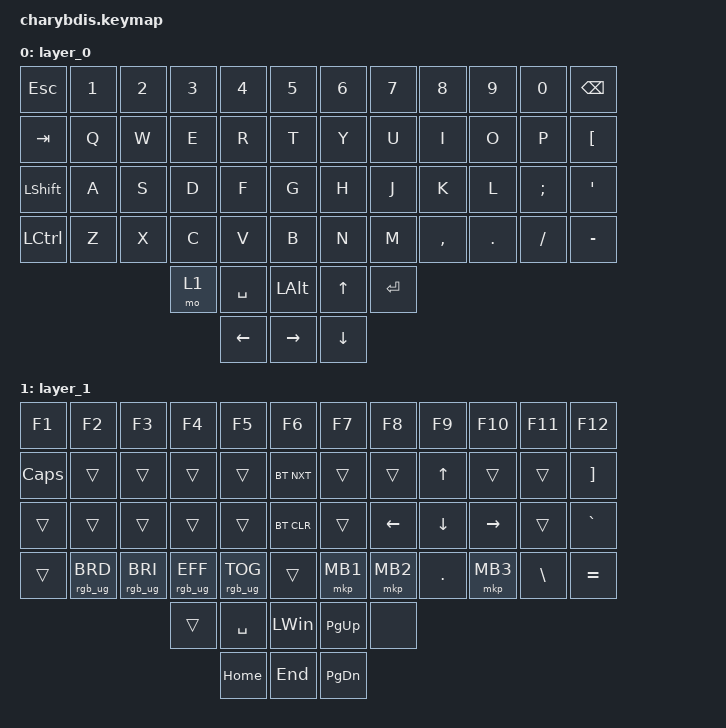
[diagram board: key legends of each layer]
#include <dt-bindings/zmk/mouse.h>
#include <behaviors.dtsi>
#include <dt-bindings/zmk/bt.h>
#include <dt-bindings/zmk/keys.h>

#include <dt-bindings/zmk/rgb.h>

&lt {
    tapping-term-ms = <200>;
    flavor = "balanced";
    quick-tap-ms = <150>;
};

/ {
    keymap {
        compatible = "zmk,keymap";

        layer_0 {
            bindings = <
&kp ESC         &kp N1  &kp N2  &kp N3  &kp N4          &kp N5             &kp N6          &kp N7     &kp N8     &kp N9      &kp N0    &kp BACKSPACE
&kp TAB         &kp Q   &kp W   &kp E   &kp R           &kp T              &kp Y           &kp U      &kp I      &kp O       &kp P     &kp LEFT_BRACKET
&kp LEFT_SHIFT  &kp A   &kp S   &kp D   &kp F           &kp G              &kp H           &kp J      &kp K      &kp L       &kp SEMI  &kp SQT
&kp LCTRL       &kp Z   &kp X   &kp C   &kp V           &kp B              &kp N           &kp M      &kp COMMA  &kp PERIOD  &kp FSLH  &kp MINUS
                                &mo 1   &kp SPACE       &kp LALT           &kp UP_ARROW    &kp ENTER
                                        &kp LEFT_ARROW  &kp RIGHT_ARROW    &kp DOWN_ARROW
            >;

            trackball-bindings = <&tmv_coarse>;
        };

        layer_1 {
            bindings = <
&kp F1    &kp F2           &kp F3           &kp F4           &kp F5           &kp F6          &kp F7         &kp F8    &kp F9      &kp F10    &kp F11        &kp F12
&kp CAPS  &trans           &trans           &trans           &trans           &bt BT_NXT      &trans         &trans    &kp UP      &trans     &trans         &kp RIGHT_BRACKET
&trans    &trans           &trans           &trans           &trans           &bt BT_CLR      &trans         &kp LEFT  &kp DOWN    &kp RIGHT  &trans         &kp GRAVE
&trans    &rgb_ug RGB_BRD  &rgb_ug RGB_BRI  &rgb_ug RGB_EFF  &rgb_ug RGB_TOG  &trans          &mkp MB1       &mkp MB2  &kp PERIOD  &mkp MB3   &kp BACKSLASH  &kp EQUAL
                                            &trans           &kp SPACE        &kp LEFT_WIN    &kp PAGE_UP    &none
                                                             &kp HOME         &kp END         &kp PAGE_DOWN
            >;

            trackball-bindings = <&tsl>;
        };

        /* layer_2 {
            bindings = <
&none  &none   &none    &none   &none         &none         &kp N1         &none         &none     &none  &none   &to 0
&none  &none   &none    &none   &none         &none         &none         &none          &rgb_ug RGB_BRD &rgb_ug RGB_BRI  &rgb_ug RGB_EFF   &rgb_ug RGB_TOG
&none  &none   &none    &none   &none         &none         &none         &mkp LCLK     &mkp RCLK  &none  &none   &none
&none  &none   &none    &none   &bt BT_NXT  &bt BT_CLR    &none         &none         &none     &none  &none   &none
                                   &none         &none         &none         &none         &none
                                                 &none         &none         &none
            >;
          trackball-bindings = <&tsl>;
            
        };

       Mouse {
            bindings = <
&none        &none         &none         &none         &none      &none         &none       &none      &none         &none         &none         &none
&none        &bt BT_SEL 0  &bt BT_SEL 1  &bt BT_SEL 3  &none      &bt BT_CLR    &bt BT_CLR  &none      &bt BT_SEL 2  &bt BT_SEL 1  &bt BT_SEL 0  &none
&none        &trans        &trans        &mkp MCLK     &trans     &none         &none       &trans     &mkp MCLK     &trans        &trans        &none
&bootloader  &trans        &mkp RCLK     &mo 4         &mkp LCLK  &mo 5         &mo 5       &mkp LCLK  &mo 4         &mkp RCLK     &trans        &bootloader
                                         &mo 5         &mkp LCLK  &mkp RCLK     &mkp RCLK   &mkp LCLK
                                                       &none      &trans        &trans
            >;

            
        };

        layer_4 {
            bindings = <
&trans  &trans  &trans     &trans     &trans     &trans       &trans     &trans     &trans     &trans     &trans  &trans
&trans  &trans  &trans     &trans     &trans     &trans       &trans     &trans     &trans     &trans     &trans  &trans
&trans  &trans  &trans     &mkp MCLK  &trans     &trans       &trans     &trans     &mkp MCLK  &trans     &trans  &trans
&trans  &trans  &mkp RCLK  &trans     &mkp LCLK  &trans       &trans     &mkp LCLK  &trans     &mkp RCLK  &trans  &trans
                           &trans     &mkp LCLK  &mkp RCLK    &mkp RCLK  &mkp LCLK
                                      &trans     &trans       &trans
            >;
                
                
                trackball-bindings = <&tsl>;
        };

        layer_5 {
            bindings = <
&trans  &trans  &trans     &trans     &trans     &trans       &trans     &trans     &trans     &trans     &trans  &trans
&trans  &trans  &trans     &trans     &trans     &trans       &trans     &trans     &trans     &trans     &trans  &trans
&trans  &trans  &trans     &mkp MCLK  &trans     &trans       &trans     &trans     &mkp MCLK  &trans     &trans  &trans
&trans  &trans  &mkp RCLK  &trans     &mkp LCLK  &trans       &trans     &mkp LCLK  &trans     &mkp RCLK  &trans  &trans
                           &trans     &mkp LCLK  &mkp RCLK    &mkp RCLK  &mkp LCLK
                                      &trans     &trans       &trans
            >;
                trackball-bindings = <&tmv_fine>;
                
        };*/
    };
};
